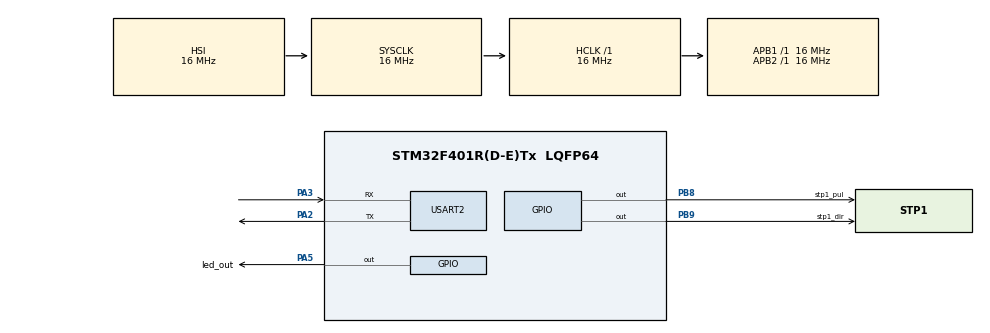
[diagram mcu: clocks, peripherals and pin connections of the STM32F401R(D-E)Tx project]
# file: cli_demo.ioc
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FREERTOS.Tasks01=defaultTask,24,128,StartDefaultTask,Default,NULL,Dynamic,NULL,NULL
FREERTOS.configENABLE_FPU=1
FREERTOS.configUSE_NEWLIB_REENTRANT=1
Mcu.Family=STM32F4
Mcu.Name=STM32F401R(D-E)Tx
Mcu.Package=LQFP64
NVIC.PriorityGroup=NVIC_PRIORITYGROUP_4
NVIC.TIM5_IRQn=true\:15\:0\:false\:false\:true\:false\:false\:true\:true
NVIC.TimeBase=TIM5_IRQn
NVIC.TimeBaseIP=TIM5
NVIC.USART2_IRQn=true\:5\:0\:false\:false\:true\:true\:true\:true\:true
PA2.Mode=Asynchronous
PA2.Signal=USART2_TX
PA3.Mode=Asynchronous
PA3.Signal=USART2_RX
PA5.GPIO_Label=led_out
PA5.Signal=GPIO_Output
PB8.GPIO_Label=stp1_pul
PB8.GPIO_Speed=GPIO_SPEED_FREQ_HIGH
PB8.Signal=GPIO_Output
PB9.GPIO_Label=stp1_dir
PB9.GPIO_Speed=GPIO_SPEED_FREQ_HIGH
PB9.Signal=GPIO_Output
ProjectManager.HeapSize=0x200
ProjectManager.StackSize=0x400
ProjectManager.TargetToolchain=STM32CubeIDE
RCC.AHBFreq_Value=16000000
RCC.APB1Freq_Value=16000000
RCC.APB2Freq_Value=16000000
RCC.CortexFreq_Value=16000000
RCC.HSE_VALUE=25000000
RCC.HSI_VALUE=16000000
RCC.LSE_VALUE=32768
RCC.SYSCLKFreq_VALUE=16000000
RCC.VCOOutputFreq_Value=192000000
USART2.VirtualMode=VM_ASYNC
VP_FREERTOS_VS_CMSIS_V2.Mode=CMSIS_V2
VP_SYS_VS_tim5.Mode=TIM5
board=custom

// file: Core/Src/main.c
/* USER CODE BEGIN Header */
/**
  ******************************************************************************
  * @file           : main.c
  * @brief          : Main program body
  ******************************************************************************
  * @attention
  *
  * Copyright (c) 2025 STMicroelectronics.
  * All rights reserved.
  *
  * This software is licensed under terms that can be found in the LICENSE file
  * in the root directory of this software component.
  * If no LICENSE file comes with this software, it is provided AS-IS.
  *
  ******************************************************************************
  */
/* USER CODE END Header */
#include "main.h"
#include "cmsis_os.h"
#include "usart.h"
#include "gpio.h"

void SystemClock_Config(void);
void MX_FREERTOS_Init(void);

int main(void)
{

  /* MCU Configuration--------------------------------------------------------*/

  /* Reset of all peripherals, Initializes the Flash interface and the Systick. */
  HAL_Init();

  /* Configure the system clock */
  SystemClock_Config();

  /* Initialize all configured peripherals */
  MX_GPIO_Init();
  MX_USART2_UART_Init();

  /* Init scheduler */
  osKernelInitialize();

  /* Call init function for freertos objects (in cmsis_os2.c) */
  MX_FREERTOS_Init();
  HAL_UART_Receive_IT(&huart2, (uint8_t *)&huart2.Instance->DR, 1);

  /* Start scheduler */
  osKernelStart();

  /* We should never get here as control is now taken by the scheduler */

  /* Infinite loop */
  while (1)
  {

  }
}

void SystemClock_Config(void)
{
  RCC_OscInitTypeDef RCC_OscInitStruct = {0};
  RCC_ClkInitTypeDef RCC_ClkInitStruct = {0};

  /** Configure the main internal regulator output voltage
  */
  __HAL_RCC_PWR_CLK_ENABLE();
  __HAL_PWR_VOLTAGESCALING_CONFIG(PWR_REGULATOR_VOLTAGE_SCALE2);

  /** Initializes the RCC Oscillators according to the specified parameters
  * in the RCC_OscInitTypeDef structure.
  */
  RCC_OscInitStruct.OscillatorType = RCC_OSCILLATORTYPE_HSI;
  RCC_OscInitStruct.HSIState = RCC_HSI_ON;
  RCC_OscInitStruct.HSICalibrationValue = RCC_HSICALIBRATION_DEFAULT;
  RCC_OscInitStruct.PLL.PLLState = RCC_PLL_NONE;
  if (HAL_RCC_OscConfig(&RCC_OscInitStruct) != HAL_OK)
  {
    Error_Handler();
  }

  /** Initializes the CPU, AHB and APB buses clocks
  */
  RCC_ClkInitStruct.ClockType = RCC_CLOCKTYPE_HCLK|RCC_CLOCKTYPE_SYSCLK
                              |RCC_CLOCKTYPE_PCLK1|RCC_CLOCKTYPE_PCLK2;
  RCC_ClkInitStruct.SYSCLKSource = RCC_SYSCLKSOURCE_HSI;
  RCC_ClkInitStruct.AHBCLKDivider = RCC_SYSCLK_DIV1;
  RCC_ClkInitStruct.APB1CLKDivider = RCC_HCLK_DIV1;
  RCC_ClkInitStruct.APB2CLKDivider = RCC_HCLK_DIV1;

  if (HAL_RCC_ClockConfig(&RCC_ClkInitStruct, FLASH_LATENCY_0) != HAL_OK)
  {
    Error_Handler();
  }
}

void HAL_TIM_PeriodElapsedCallback(TIM_HandleTypeDef *htim)
{
  if (htim->Instance == TIM5) {
    HAL_IncTick();
  }
}

void Error_Handler(void)
{
  __disable_irq();
  while (1)
  {
  }
}

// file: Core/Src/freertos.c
/* USER CODE BEGIN Header */
/**
  ******************************************************************************
  * File Name          : freertos.c
  * Description        : Code for freertos applications
  ******************************************************************************
  * @attention
  *
  * Copyright (c) 2025 STMicroelectronics.
  * All rights reserved.
  *
  * This software is licensed under terms that can be found in the LICENSE file
  * in the root directory of this software component.
  * If no LICENSE file comes with this software, it is provided AS-IS.
  *
  ******************************************************************************
  */
/* USER CODE END Header */

#include "FreeRTOS.h"
#include "task.h"
#include "main.h"
#include "cmsis_os.h"

/* USER CODE BEGIN Includes */
#include "cli_app.h"
#include "stepper.h"
/* USER CODE END Includes */

/* USER CODE BEGIN Variables */
osThreadId_t cmdLineTaskHandle; // new command line task
const osThreadAttr_t cmdLineTask_attributes = {
  .name = "cmdLineTask", // defined in cli_app.c
  .priority = (osPriority_t) osPriorityLow,
  .stack_size = 128 * 4
};
osThreadId_t stepperXTaskHandle; // new command line task
const osThreadAttr_t stepperX_attributes = {
  .name = "stepperXTask", // defined in cli_app.c
  .priority = (osPriority_t) osPriorityLow,
  .stack_size = 128 * 4
};
// osThreadId_t stepperYTaskHandle; // new command line task
// const osThreadAttr_t stepperYTask_attributes = {
//   .name = "stepperYTask", // defined in cli_app.c
//   .priority = (osPriority_t) osPriorityLow,
//   .stack_size = 128 * 4
// };
/* USER CODE END Variables */
/* Definitions for defaultTask */
osThreadId_t defaultTaskHandle;
const osThreadAttr_t defaultTask_attributes = {
  .name = "defaultTask",
  .stack_size = 128 * 4,
  .priority = (osPriority_t) osPriorityNormal,
};

void StartDefaultTask(void *argument);

void MX_FREERTOS_Init(void); /* (MISRA C 2004 rule 8.1) */

void MX_FREERTOS_Init(void) {

  /* Create the thread(s) */
  /* creation of defaultTask */
  defaultTaskHandle = osThreadNew(StartDefaultTask, NULL, &defaultTask_attributes);
  /* USER CODE BEGIN RTOS_THREADS */
  /* add threads, ... */
  cmdLineTaskHandle = osThreadNew(vCommandConsoleTask, NULL, &cmdLineTask_attributes);
  stepperXTaskHandle = osThreadNew(vStepperControlX, NULL, &stepperX_attributes);
  /* USER CODE END RTOS_THREADS */

}

void StartDefaultTask(void *argument)
{
  for(;;)
  {
    osDelay(1);
  }
}
